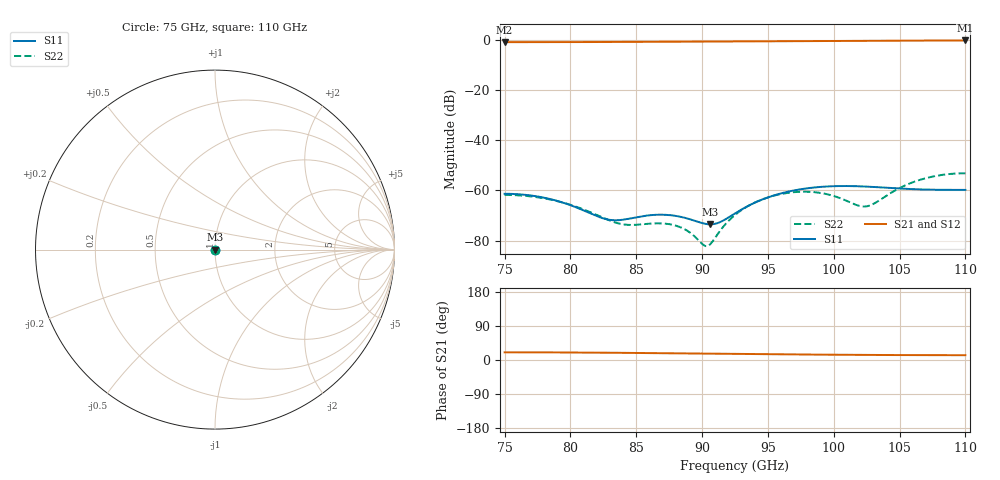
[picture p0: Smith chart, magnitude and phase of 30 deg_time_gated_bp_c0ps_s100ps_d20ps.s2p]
# Hz S RI R 50.000000
! Metas.Vna.Tools, 2.4.7724.19584
! Metas.Vna.Data, 2.4.7724.19560
! Created: UTC 2021.04.29 12:40:11
! FREQ  re:S1,1  im:S1,1  re:S2,1  im:S2,1  re:S1,2  im:S1,2  re:S2,2  im:S2,2
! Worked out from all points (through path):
!   1401 points, 75 GHz to 110 GHz, reference 50 ohm
!   highest |S21| = -0.29 dB at 110 GHz (marker M1); lowest = -1.0 dB at 75 GHz (marker M2)
!   lowest |S11| = -73.5 dB at 90.62 GHz (marker M3), VSWR 1.00, Z = 50 + j0.000732 ohm
!   |S11| at or under -10 dB: start of sweep to end of sweep
!   |S22| runs from -82.2 to -53.2 dB; largest |S21 - S12| = 0.046
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7.5e10  -0.000531 -0.00067  0.8389 0.3097  0.8384 0.3173  0.000718 0.000376
7.8025e10  -0.000491 -0.000515  0.8408 0.3076  0.8404 0.3147  0.00064 0.000258
8.085e10  -0.000375 -0.000173  0.8457 0.302  0.8457 0.3077  0.00043 1.96e-05
8.3225e10  -0.000221 0.000127  0.8521 0.295  0.8526 0.2986  0.000183 -0.000152
8.445e10  -0.000127 0.000241  0.8561 0.2907  0.8569 0.293  5.39e-05 -0.000198
8.6675e10  4.21e-05 0.000324  0.8643 0.2821  0.8659 0.2813  -0.000121 -0.000185
8.8125e10  0.000133 0.000275  0.8703 0.2759  0.8725 0.2727  -0.000157 -0.000113
8.9775e10  0.000198 0.000121  0.8775 0.2687  0.8805 0.2624  -9.8e-05 9.04e-06
9.0625e10  0.00021 7.32e-06  0.8814 0.265  0.8848 0.2569  -2.51e-05 8.11e-05
9.0925e10  0.000211 -3.73e-05  0.8827 0.2636  0.8863 0.255  7.03e-06 0.000107
9.1725e10  0.000201 -0.000165  0.8864 0.2601  0.8905 0.2497  0.000107 0.000175
9.25e10  0.000178 -0.000298  0.89 0.2567  0.8945 0.2445  0.000218 0.000239
9.3725e10  0.000113 -0.000513  0.8958 0.2514  0.901 0.2363  0.000411 0.000328
9.5175e10  -3.85e-06 -0.00075  0.9025 0.2454  0.9086 0.2267  0.000625 0.000409
9.675e10  -0.000166 -0.000954  0.9096 0.2392  0.9167 0.2166  0.00078 0.000464
9.835e10  -0.000349 -0.00107  0.9164 0.2335  0.9245 0.2068  0.000789 0.000487
9.9825e10  -0.000515 -0.00109  0.9222 0.2287  0.9313 0.1984  0.000628 0.000489
1.02275e11  -0.000748 -0.000931  0.9306 0.2219  0.941 0.1862  1.8e-06 0.000476
1.0295e11  -0.000799 -0.000856  0.9326 0.2204  0.9434 0.1834  -0.000232 0.000472
1.04175e11  -0.000875 -0.0007  0.9359 0.2179  0.9471 0.1787  -0.000691 0.000468
1.0685e11  -0.000973 -0.000363  0.9409 0.2141  0.9531 0.1714  -0.00164 0.000471
1.1e11  -0.001 -0.000181  0.9431 0.2125  0.9556 0.1683  -0.00214 0.000477
